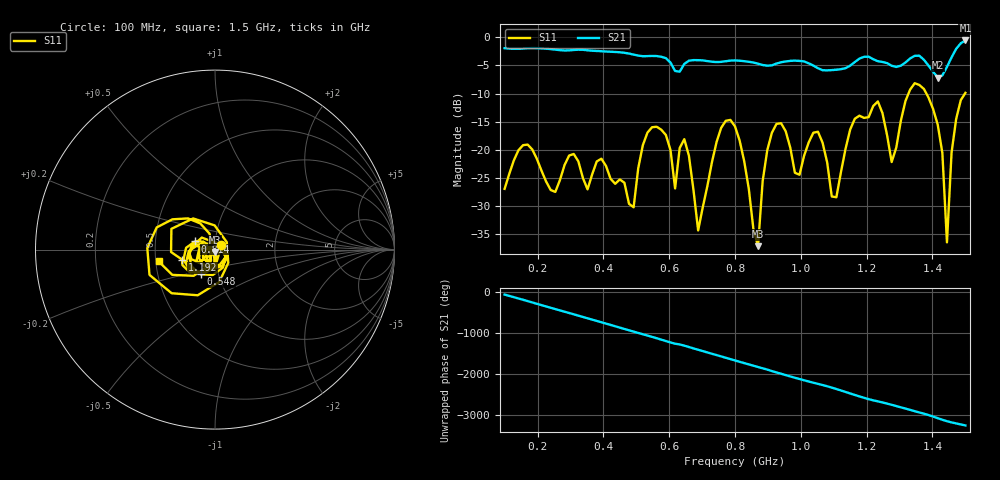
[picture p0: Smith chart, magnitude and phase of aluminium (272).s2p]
! NanoVNA-App
! Date: 2025-09-25 14:57:24
! Start: 100MHz Stop: 1,5GHz Points: 101
! S-Parameter data: F S11 S21 S12 S22
# Hz S RI R 50
!  Frequency  S11_Real  S11_Imag  S21_Real  S21_Imag  S12_Real  S12_Imag  S22_Real  S22_Imag
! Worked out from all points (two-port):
!   101 points, 100 MHz to 1.5 GHz, reference 50 ohm
!   highest |S21| = -0.54 dB at 1.5 GHz (marker M1); lowest = -7.1 dB at 1.416 GHz (marker M2)
!   |S21| within 3 dB of the highest: start of sweep to 581.6 MHz; 1.458 GHz to end of sweep (the widest 2 of 4)
!   lowest |S11| = -37.2 dB at 870 MHz (marker M3), VSWR 1.03, Z = 49.9 - j1.38 ohm
!   |S11| at or under -10 dB: start of sweep to 1.327 GHz; 1.381 GHz to 1.499 GHz (117.2 MHz wide, 8.14 % of centre)
!   S12 and S22 are empty: the file has one direction only
!   S11 on the Smith chart (normalised r, x): 100 MHz: 1.07, +0.06; 548 MHz: 0.82, -0.23; 814 MHz: 0.80, +0.07; 1.192 GHz: 0.69, -0.08; 1.5 GHz: 0.52, -0.08
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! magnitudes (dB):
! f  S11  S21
! 100 MHz  -27.0  -1.9
! 338 MHz  -25.0  -2.2
! 492 MHz  -30.2  -3.1
! 548 MHz  -16.0  -3.3
! 576 MHz  -16.4  -3.4
! 618 MHz  -26.9  -6.0
! 646 MHz  -18.1  -4.7
! 688 MHz  -34.4  -4.1
! 800 MHz  -15.8  -4.1
! 814 MHz  -18.3  -4.1
! 870 MHz  -37.2  -4.7
! 912 MHz  -17.0  -5.0
! 996 MHz  -24.5  -4.2
! 1.038 GHz  -17.0  -5.0
! 1.108 GHz  -28.5  -5.8
! 1.192 GHz  -14.3  -3.5
! 1.276 GHz  -22.2  -5.0
! 1.346 GHz  -8.2  -3.3
! 1.416 GHz  -15.6  -7.1
! 1.444 GHz  -36.5  -5.3
! 1.458 GHz  -20.5  -3.6
! 1.5 GHz  -9.9  -0.5
